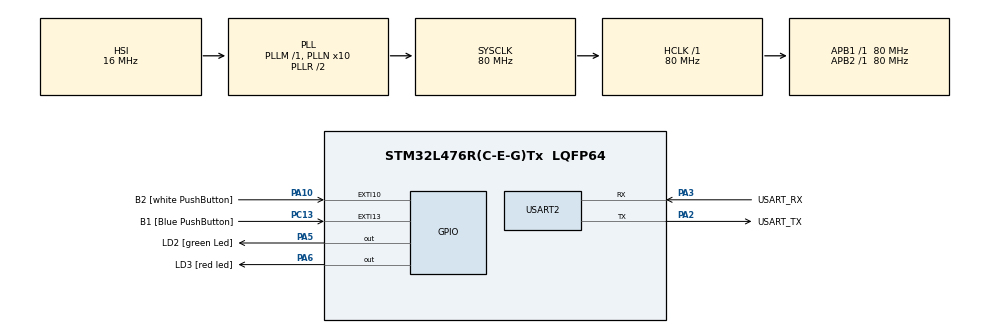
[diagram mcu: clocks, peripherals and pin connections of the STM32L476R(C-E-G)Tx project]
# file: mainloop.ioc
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Mcu.Family=STM32L4
Mcu.Name=STM32L476R(C-E-G)Tx
Mcu.Package=LQFP64
NVIC.EXTI15_10_IRQn=true\:0\:0\:false\:false\:true\:true\:true\:true
NVIC.PriorityGroup=NVIC_PRIORITYGROUP_4
NVIC.TIM4_IRQn=true\:0\:0\:false\:false\:true\:true\:true\:true
NVIC.TIM6_DAC_IRQn=true\:0\:0\:false\:false\:true\:true\:true\:true
NVIC.USART2_IRQn=true\:0\:0\:false\:false\:true\:true\:true\:true
PA10.GPIO_Label=B2 [white PushButton]
PA10.GPIO_ModeDefaultEXTI=GPIO_MODE_IT_RISING_FALLING
PA10.Signal=GPXTI10
PA13\ (JTMS-SWDIO).GPIO_Label=TMS
PA13\ (JTMS-SWDIO).Mode=Serial_Wire
PA13\ (JTMS-SWDIO).Signal=SYS_JTMS-SWDIO
PA14\ (JTCK-SWCLK).GPIO_Label=TCK
PA14\ (JTCK-SWCLK).Mode=Serial_Wire
PA14\ (JTCK-SWCLK).Signal=SYS_JTCK-SWCLK
PA2.GPIO_Label=USART_TX
PA2.GPIO_Mode=GPIO_MODE_AF_PP
PA2.GPIO_PuPd=GPIO_NOPULL
PA2.GPIO_Speed=GPIO_SPEED_FREQ_VERY_HIGH
PA2.Mode=Asynchronous
PA2.Signal=USART2_TX
PA3.GPIO_Label=USART_RX
PA3.GPIO_Mode=GPIO_MODE_AF_PP
PA3.GPIO_PuPd=GPIO_NOPULL
PA3.GPIO_Speed=GPIO_SPEED_FREQ_VERY_HIGH
PA3.Mode=Asynchronous
PA3.Signal=USART2_RX
PA5.GPIO_Label=LD2 [green Led]
PA5.GPIO_ModeDefaultOutputPP=GPIO_MODE_OUTPUT_PP
PA5.GPIO_PuPd=GPIO_NOPULL
PA5.GPIO_Speed=GPIO_SPEED_FREQ_LOW
PA5.Signal=GPIO_Output
PA6.GPIO_Label=LD3 [red led]
PA6.Signal=GPIO_Output
PB3\ (JTDO-TRACESWO).GPIO_Label=SWO
PB3\ (JTDO-TRACESWO).Signal=SYS_JTDO-SWO
PB6.GPIO_FM6=__NULL
PB6.Signal=S_TIM4_CH1
PC13.GPIO_Label=B1 [Blue PushButton]
PC13.GPIO_ModeDefaultEXTI=GPIO_MODE_IT_FALLING
PC13.GPIO_PuPd=GPIO_NOPULL
PC13.Signal=GPXTI13
PC14-OSC32_IN\ (PC14).Mode=LSE-External-Oscillator
PC14-OSC32_IN\ (PC14).Signal=RCC_OSC32_IN
PC15-OSC32_OUT\ (PC15).Mode=LSE-External-Oscillator
PC15-OSC32_OUT\ (PC15).Signal=RCC_OSC32_OUT
PH0-OSC_IN\ (PH0).Signal=RCC_OSC_IN
PH1-OSC_OUT\ (PH1).Signal=RCC_OSC_OUT
ProjectManager.HeapSize=0x200
ProjectManager.StackSize=0x400
ProjectManager.TargetToolchain=STM32CubeIDE
RCC.ADCFreq_Value=64000000
RCC.AHBFreq_Value=80000000
RCC.APB1Freq_Value=80000000
RCC.APB1TimFreq_Value=80000000
RCC.APB2Freq_Value=80000000
RCC.APB2TimFreq_Value=80000000
RCC.CortexFreq_Value=80000000
RCC.HCLKFreq_Value=80000000
RCC.HSE_VALUE=8000000
RCC.HSI_VALUE=16000000
RCC.MSI_VALUE=4000000
RCC.PLLN=10
RCC.PLLSourceVirtual=RCC_PLLSOURCE_HSI
RCC.PREFETCH_ENABLE=1
RCC.SYSCLKFreq_VALUE=80000000
RCC.SYSCLKSource=RCC_SYSCLKSOURCE_PLLCLK
RCC.USBFreq_Value=64000000
RCC.VCOOutputFreq_Value=160000000
SH.S_TIM4_CH1.0=TIM4_CH1
TIM4.Channel-PWM\ Generation1\ No\ Output=TIM_CHANNEL_1
TIM4.Period=100
TIM4.Prescaler=7999
TIM4.Pulse-PWM\ Generation1\ No\ Output=30
TIM6.Period=10
TIM6.Prescaler=7999
USART2.VirtualMode-Asynchronous=VM_ASYNC
VP_TIM4_VS_no_output1.Mode=PWM Generation1 No Output
VP_TIM6_VS_ClockSourceINT.Mode=Enable_Timer
board=NUCLEO-L476RG

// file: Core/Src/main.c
/* USER CODE BEGIN Header */
/**
  ******************************************************************************
  * @file           : main.c
  * @brief          : Main program body
  ******************************************************************************
  * @attention
  *
  * Copyright (c) 2022 STMicroelectronics.
  * All rights reserved.
  *
  * This software is licensed under terms that can be found in the LICENSE file
  * in the root directory of this software component.
  * If no LICENSE file comes with this software, it is provided AS-IS.
  *
  ******************************************************************************
  */
/* USER CODE END Header */
#include "main.h"

/* USER CODE BEGIN Includes */
#include <stdio.h>
#include <string.h>
#include "led.h"
#include "button.h"
/* USER CODE END Includes */

 TIM_HandleTypeDef htim4;
TIM_HandleTypeDef htim6;

UART_HandleTypeDef huart2;

/* USER CODE BEGIN PV */
Led ledR;
Led ledB;
Button button1;
/* USER CODE END PV */

void SystemClock_Config(void);
static void MX_GPIO_Init(void);
static void MX_USART2_UART_Init(void);
static void MX_TIM6_Init(void);
static void MX_TIM4_Init(void);

/* USER CODE BEGIN 0 */
////////////////////////////////////////////////////////////////////////
int _write(int fd, char* ptr, int len)
{
	HAL_UART_Transmit(&huart2, (uint8_t*)ptr, len, HAL_MAX_DELAY);
	return len;
}
//////////////////////////////////////////////////////////////////////
void HAL_TIM_PeriodElapsedCallback(TIM_HandleTypeDef * htim)
{
	if(htim == &htim6)
	{
	  Led_onTimerInterrupt(&ledB);
	}
	else
	{
	  Led_on(&ledR);
	}

}
/////////////////////////////////////////////////////////////////////
void HAL_GPIO_EXTI_Callback(uint16_t GPIO_Pin)
{
	Button_interrupt(&button1);
}
////////////////////////////////////////////////////////////////////

////////////////////////////////////////////////////////////////////
void HAL_TIM_PWM_PulseFinishedCallback(TIM_HandleTypeDef *htim)
{
	Led_off(&ledR);
}

/////////////////////////////////////////////////////////////////////

void Led_setBrightness(int brightness)
{
	if(brightness > 10 )
	{
		printf("Invalid command\r\n");
		return;
	}

	__HAL_TIM_SET_COMPARE(&htim4, TIM_CHANNEL_1, brightness*10);
	HAL_TIM_Base_Stop_IT(&htim6);
	HAL_TIM_Base_Start_IT(&htim4);
	HAL_TIM_PWM_Start_IT(&htim4, TIM_CHANNEL_1);
}

/////////////////////////////////////////////////////////////////////////
// Communication task definitions and functions
/////////////////////////////////////////////////////////////////////////

#define MAX_BUFFER_LENGTH 100

uint8_t cmdbuffer[MAX_BUFFER_LENGTH];
int cmdcount = 0;
int cmdprint = 0;

int Communication_commTask()
{
	uint8_t ch;

	HAL_StatusTypeDef Status = HAL_UART_Receive(&huart2, &ch, 1, 10);
	if (Status != HAL_OK)
	{
		if ((huart2.Instance->ISR & USART_ISR_ORE) != 0)
		{
			__HAL_UART_CLEAR_OREFLAG(&huart2);
		}

		// here we have a time to print the command
		while (cmdprint < cmdcount)
		{
			HAL_UART_Transmit(&huart2, &cmdbuffer[cmdprint++], 1, 0xFFFF);
		}

		return 0;
	}

	if (ch != '\r' && ch != '\n')
	{
		//HAL_UART_Transmit(&huart2, &ch, 1, 0xFFFF);

		if (cmdcount >= MAX_BUFFER_LENGTH)
		{
			cmdcount = 0;
			cmdprint = 0;
		}

		cmdbuffer[cmdcount++] = ch;
		return 0;
	}

	// here we have a time to print the command
	while (cmdprint < cmdcount)
	{
		HAL_UART_Transmit(&huart2, &cmdbuffer[cmdprint++], 1, 0xFFFF);
	}

	HAL_UART_Transmit(&huart2, (uint8_t*)"\r\n", 2, 0xFFFF);

	cmdbuffer[cmdcount] = 0;
	cmdcount = 0;
	cmdprint = 0;
	return 1;
}

void Communication_handleCommand()
{
  char cmd[20];
  int brightness;

  int params = sscanf((const char*)cmdbuffer, "%s %d", cmd, &brightness);

  if (params == 0)
  {
	  return;
  }

  if (strcmp(cmd, "off") == 0)
  {
	  HAL_TIM_PWM_Stop_IT(&htim4, TIM_CHANNEL_1);
	  Led_off(&ledR);
  }
  else if (strcmp(cmd, "on") == 0)
  {
	  HAL_TIM_PWM_Stop_IT(&htim4, TIM_CHANNEL_1);
	  Led_on(&ledR);
  }
  else if (strcmp(cmd, "bright") == 0)
  {
	  Led_setBrightness(brightness);
  }

  else
  {
	  printf("Invalid command\r\n");
  }
}

/* USER CODE END 0 */

int main(void)
{

  /* MCU Configuration--------------------------------------------------------*/

  /* Reset of all peripherals, Initializes the Flash interface and the Systick. */
  HAL_Init();

  /* Configure the system clock */
  SystemClock_Config();

  /* Initialize all configured peripherals */
  MX_GPIO_Init();
  MX_USART2_UART_Init();
  MX_TIM6_Init();
  MX_TIM4_Init();
  /* USER CODE BEGIN 2 */
  __HAL_TIM_SET_COUNTER(&htim6, 0);
  HAL_TIM_Base_Start_IT(&htim6);
  Led_init(&ledB , LD2_GPIO_Port , LD2_Pin );
  Led_init(&ledR , LD3_GPIO_Port , LD3_Pin );
  Button_init(&button1, B2_GPIO_Port ,  B2_Pin);

  /* USER CODE END 2 */

  /* Infinite loop */
  while (1)
  {
	  if (Communication_commTask())
	  	  {
	  		  Communication_handleCommand();
	  	  }
  }
}

void SystemClock_Config(void)
{
  RCC_OscInitTypeDef RCC_OscInitStruct = {0};
  RCC_ClkInitTypeDef RCC_ClkInitStruct = {0};

  /** Configure the main internal regulator output voltage
  */
  if (HAL_PWREx_ControlVoltageScaling(PWR_REGULATOR_VOLTAGE_SCALE1) != HAL_OK)
  {
    Error_Handler();
  }

  /** Initializes the RCC Oscillators according to the specified parameters
  * in the RCC_OscInitTypeDef structure.
  */
  RCC_OscInitStruct.OscillatorType = RCC_OSCILLATORTYPE_HSI;
  RCC_OscInitStruct.HSIState = RCC_HSI_ON;
  RCC_OscInitStruct.HSICalibrationValue = RCC_HSICALIBRATION_DEFAULT;
  RCC_OscInitStruct.PLL.PLLState = RCC_PLL_ON;
  RCC_OscInitStruct.PLL.PLLSource = RCC_PLLSOURCE_HSI;
  RCC_OscInitStruct.PLL.PLLM = 1;
  RCC_OscInitStruct.PLL.PLLN = 10;
  RCC_OscInitStruct.PLL.PLLP = RCC_PLLP_DIV7;
  RCC_OscInitStruct.PLL.PLLQ = RCC_PLLQ_DIV2;
  RCC_OscInitStruct.PLL.PLLR = RCC_PLLR_DIV2;
  if (HAL_RCC_OscConfig(&RCC_OscInitStruct) != HAL_OK)
  {
    Error_Handler();
  }

  /** Initializes the CPU, AHB and APB buses clocks
  */
  RCC_ClkInitStruct.ClockType = RCC_CLOCKTYPE_HCLK|RCC_CLOCKTYPE_SYSCLK
                              |RCC_CLOCKTYPE_PCLK1|RCC_CLOCKTYPE_PCLK2;
  RCC_ClkInitStruct.SYSCLKSource = RCC_SYSCLKSOURCE_PLLCLK;
  RCC_ClkInitStruct.AHBCLKDivider = RCC_SYSCLK_DIV1;
  RCC_ClkInitStruct.APB1CLKDivider = RCC_HCLK_DIV1;
  RCC_ClkInitStruct.APB2CLKDivider = RCC_HCLK_DIV1;

  if (HAL_RCC_ClockConfig(&RCC_ClkInitStruct, FLASH_LATENCY_4) != HAL_OK)
  {
    Error_Handler();
  }
}

static void MX_TIM4_Init(void)
{

  TIM_MasterConfigTypeDef sMasterConfig = {0};
  TIM_OC_InitTypeDef sConfigOC = {0};

  htim4.Instance = TIM4;
  htim4.Init.Prescaler = 7999;
  htim4.Init.CounterMode = TIM_COUNTERMODE_UP;
  htim4.Init.Period = 100;
  htim4.Init.ClockDivision = TIM_CLOCKDIVISION_DIV1;
  htim4.Init.AutoReloadPreload = TIM_AUTORELOAD_PRELOAD_DISABLE;
  if (HAL_TIM_PWM_Init(&htim4) != HAL_OK)
  {
    Error_Handler();
  }
  sMasterConfig.MasterOutputTrigger = TIM_TRGO_RESET;
  sMasterConfig.MasterSlaveMode = TIM_MASTERSLAVEMODE_DISABLE;
  if (HAL_TIMEx_MasterConfigSynchronization(&htim4, &sMasterConfig) != HAL_OK)
  {
    Error_Handler();
  }
  sConfigOC.OCMode = TIM_OCMODE_PWM1;
  sConfigOC.Pulse = 30;
  sConfigOC.OCPolarity = TIM_OCPOLARITY_HIGH;
  sConfigOC.OCFastMode = TIM_OCFAST_DISABLE;
  if (HAL_TIM_PWM_ConfigChannel(&htim4, &sConfigOC, TIM_CHANNEL_1) != HAL_OK)
  {
    Error_Handler();
  }

}

static void MX_TIM6_Init(void)
{

  TIM_MasterConfigTypeDef sMasterConfig = {0};

  htim6.Instance = TIM6;
  htim6.Init.Prescaler = 7999;
  htim6.Init.CounterMode = TIM_COUNTERMODE_UP;
  htim6.Init.Period = 10;
  htim6.Init.AutoReloadPreload = TIM_AUTORELOAD_PRELOAD_DISABLE;
  if (HAL_TIM_Base_Init(&htim6) != HAL_OK)
  {
    Error_Handler();
  }
  sMasterConfig.MasterOutputTrigger = TIM_TRGO_RESET;
  sMasterConfig.MasterSlaveMode = TIM_MASTERSLAVEMODE_DISABLE;
  if (HAL_TIMEx_MasterConfigSynchronization(&htim6, &sMasterConfig) != HAL_OK)
  {
    Error_Handler();
  }

}

static void MX_USART2_UART_Init(void)
{

  huart2.Instance = USART2;
  huart2.Init.BaudRate = 115200;
  huart2.Init.WordLength = UART_WORDLENGTH_8B;
  huart2.Init.StopBits = UART_STOPBITS_1;
  huart2.Init.Parity = UART_PARITY_NONE;
  huart2.Init.Mode = UART_MODE_TX_RX;
  huart2.Init.HwFlowCtl = UART_HWCONTROL_NONE;
  huart2.Init.OverSampling = UART_OVERSAMPLING_16;
  huart2.Init.OneBitSampling = UART_ONE_BIT_SAMPLE_DISABLE;
  huart2.AdvancedInit.AdvFeatureInit = UART_ADVFEATURE_NO_INIT;
  if (HAL_UART_Init(&huart2) != HAL_OK)
  {
    Error_Handler();
  }

}

static void MX_GPIO_Init(void)
{
  GPIO_InitTypeDef GPIO_InitStruct = {0};

  /* GPIO Ports Clock Enable */
  __HAL_RCC_GPIOC_CLK_ENABLE();
  __HAL_RCC_GPIOH_CLK_ENABLE();
  __HAL_RCC_GPIOA_CLK_ENABLE();
  __HAL_RCC_GPIOB_CLK_ENABLE();

  /*Configure GPIO pin Output Level */
  HAL_GPIO_WritePin(GPIOA, LD2_Pin|LD3_Pin, GPIO_PIN_RESET);

  /*Configure GPIO pin : B1_Pin */
  GPIO_InitStruct.Pin = B1_Pin;
  GPIO_InitStruct.Mode = GPIO_MODE_IT_FALLING;
  GPIO_InitStruct.Pull = GPIO_NOPULL;
  HAL_GPIO_Init(B1_GPIO_Port, &GPIO_InitStruct);

  /*Configure GPIO pins : LD2_Pin LD3_Pin */
  GPIO_InitStruct.Pin = LD2_Pin|LD3_Pin;
  GPIO_InitStruct.Mode = GPIO_MODE_OUTPUT_PP;
  GPIO_InitStruct.Pull = GPIO_NOPULL;
  GPIO_InitStruct.Speed = GPIO_SPEED_FREQ_LOW;
  HAL_GPIO_Init(GPIOA, &GPIO_InitStruct);

  /*Configure GPIO pin : B2_Pin */
  GPIO_InitStruct.Pin = B2_Pin;
  GPIO_InitStruct.Mode = GPIO_MODE_IT_RISING_FALLING;
  GPIO_InitStruct.Pull = GPIO_NOPULL;
  HAL_GPIO_Init(B2_GPIO_Port, &GPIO_InitStruct);

  /* EXTI interrupt init*/
  HAL_NVIC_SetPriority(EXTI15_10_IRQn, 0, 0);
  HAL_NVIC_EnableIRQ(EXTI15_10_IRQn);

}

void Error_Handler(void)
{
  __disable_irq();
  while (1)
  {
  }
}
